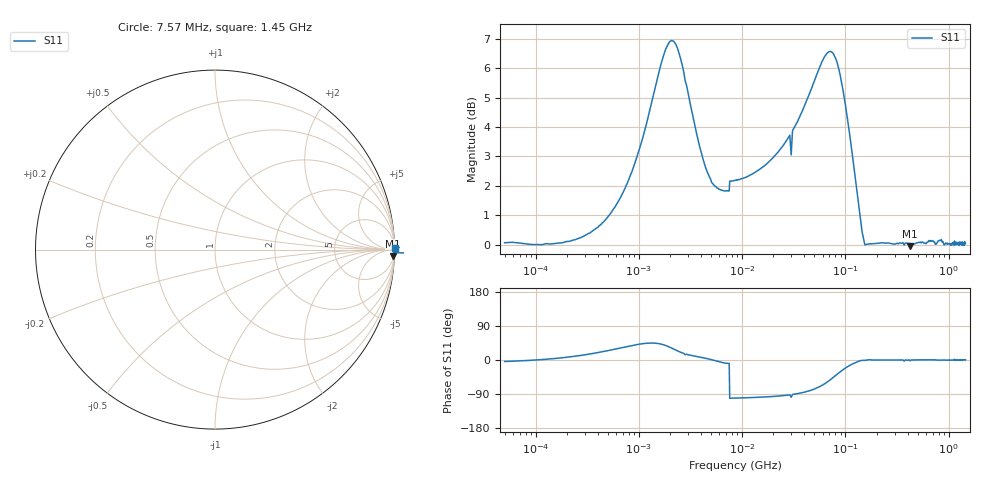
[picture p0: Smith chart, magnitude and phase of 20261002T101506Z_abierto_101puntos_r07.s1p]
! piloto_saltos / abierto_101puntos / r07
# HZ S RI R 50
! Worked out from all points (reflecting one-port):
!   501 points, 50 kHz to 1.45 GHz, reference 50 ohm
!   lowest |S11| = -0.1 dB at 424 MHz (marker M1), VSWR 328.71, Z = 462 - j2.72e+03 ohm
!   phase of S11 starts at -4 deg and turns +5 deg over the sweep
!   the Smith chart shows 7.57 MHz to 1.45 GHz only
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50000  1.005 -0.0698
183000  1.002 0.1053
363500  1.009 0.3182
658000  1.02 0.6298
1180000  1.15 1.115
1630000  1.501 1.356
1990000  1.842 1.229
2440000  1.959 0.8038
2890000  1.801 0.4858
3430000  1.584 0.2929
4870000  1.297 0.0432
7300000  1.219 -0.1931
7750000  -0.2419 -1.259
8560000  -0.2343 -1.264
1.63e7  -0.1817 -1.348
3.16e7  -0.0104 -1.577
4.78e7  0.3676 -1.823
6.4e7  1.005 -1.84
7.39e7  1.399 -1.598
8.65e7  1.65 -1.098
9.82e7  1.628 -0.6733
1e8  1.61 -0.62
1.18e8  1.377 -0.2407
1.36e8  1.15 -0.0488
1.63e8  1.002 9.9e-05
4.06e8  1.005 0.000487
4.24e8  0.9933 -0.0356
1.45e9  1.004 0.0108
